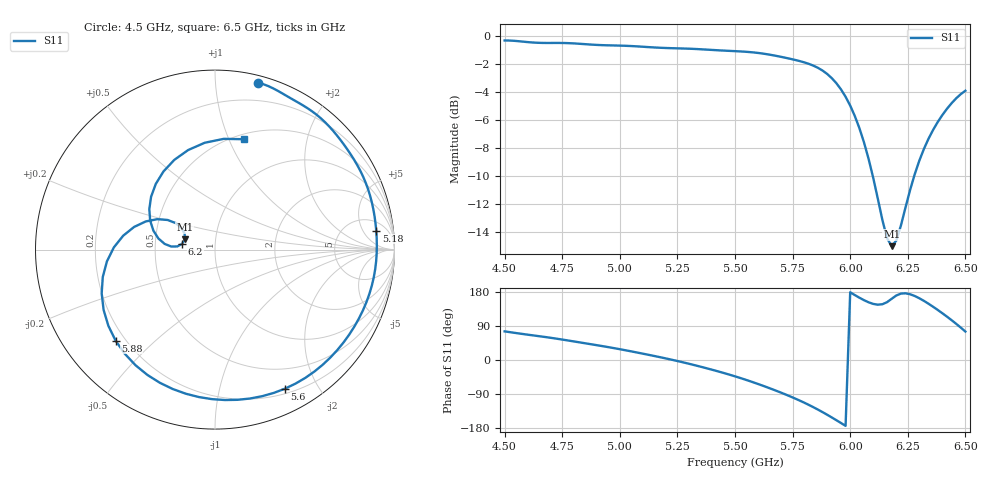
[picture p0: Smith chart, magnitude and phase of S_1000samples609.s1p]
! TOUCHSTONE file generated by CST MICROWAVE STUDIO
! Date and time: Fri Oct 28 18:25:23 2022
! Project name: L.cst
! Parameters = {Di=1.27; Epsilon_r=1.56; InnerDiameter=1.27; Length=2; Lf=10; Lg=60; OuterConductorThickness=0.2921; OuterDiameter=3.6; Wf=3; Wp=41.2; de=1.5; df=6.8; g=0.8; gx=3.62124; gy=1.17065; h=2.34; hf=1.524; px=8.05209; py=12.1052; w=9.7; wx=4.43085; wy=10.9345}
! Header version: 2018
! Port assignment regex: !\s*Touchstone port\s*([0-9]+)\s*=\s*(CST MWS port|CST DS port)\s*([0-9]+|Zmin|Zmax)\s*\(\"(.*)\"\)(\s*mode\s*([0-9]+))?.*
! Touchstone port assignment:
! Touchstone port 1 = CST MWS port 1 ("")
# GHz S DB R 50
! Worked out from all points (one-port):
!   101 points, 4.5 GHz to 6.5 GHz, reference 50 ohm
!   lowest |S11| = -15.0 dB at 6.18 GHz (marker M1), VSWR 1.43, Z = 35.3 + j4.12 ohm
!   |S11| at or under -10 dB: 6.098 GHz to 6.278 GHz (179.6 MHz wide, 2.9 % of centre)
!   S11 on the Smith chart (normalised r, x): 4.5 GHz: 0.05, +1.29; 5.18 GHz: 8, +10; 5.6 GHz: 0.25, -1.59; 5.88 GHz: 0.16, -0.38; 6.2 GHz: 0.69, +0.05; 6.5 GHz: 0.55, +1.14
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4.5  -0.35 75.6
4.76  -0.53 53.0
5  -0.71 28.5
5.18  -0.87 6.7
5.26  -0.91 -4.1
5.38  -1.00 -22.4
5.5  -1.11 -43.1
5.6  -1.24 -63.3
5.68  -1.45 -81.4
5.76  -1.73 -101.4
5.82  -2.01 -118.4
5.88  -2.49 -137.6
5.94  -3.39 -158.9
5.96  -3.83 -166.3
6  -4.98 178.7
6.04  -6.59 164.4
6.08  -8.78 152.2
6.14  -13.14 147.2
6.16  -14.42 152.7
6.18  -14.99 161.5
6.2  -14.59 170.2
6.26  -10.99 173.6
6.32  -8.06 156.0
6.38  -6.15 132.1
6.4  -5.65 123.4
6.44  -4.81 105.1
6.48  -4.17 85.5
6.5  -3.93 75.1
